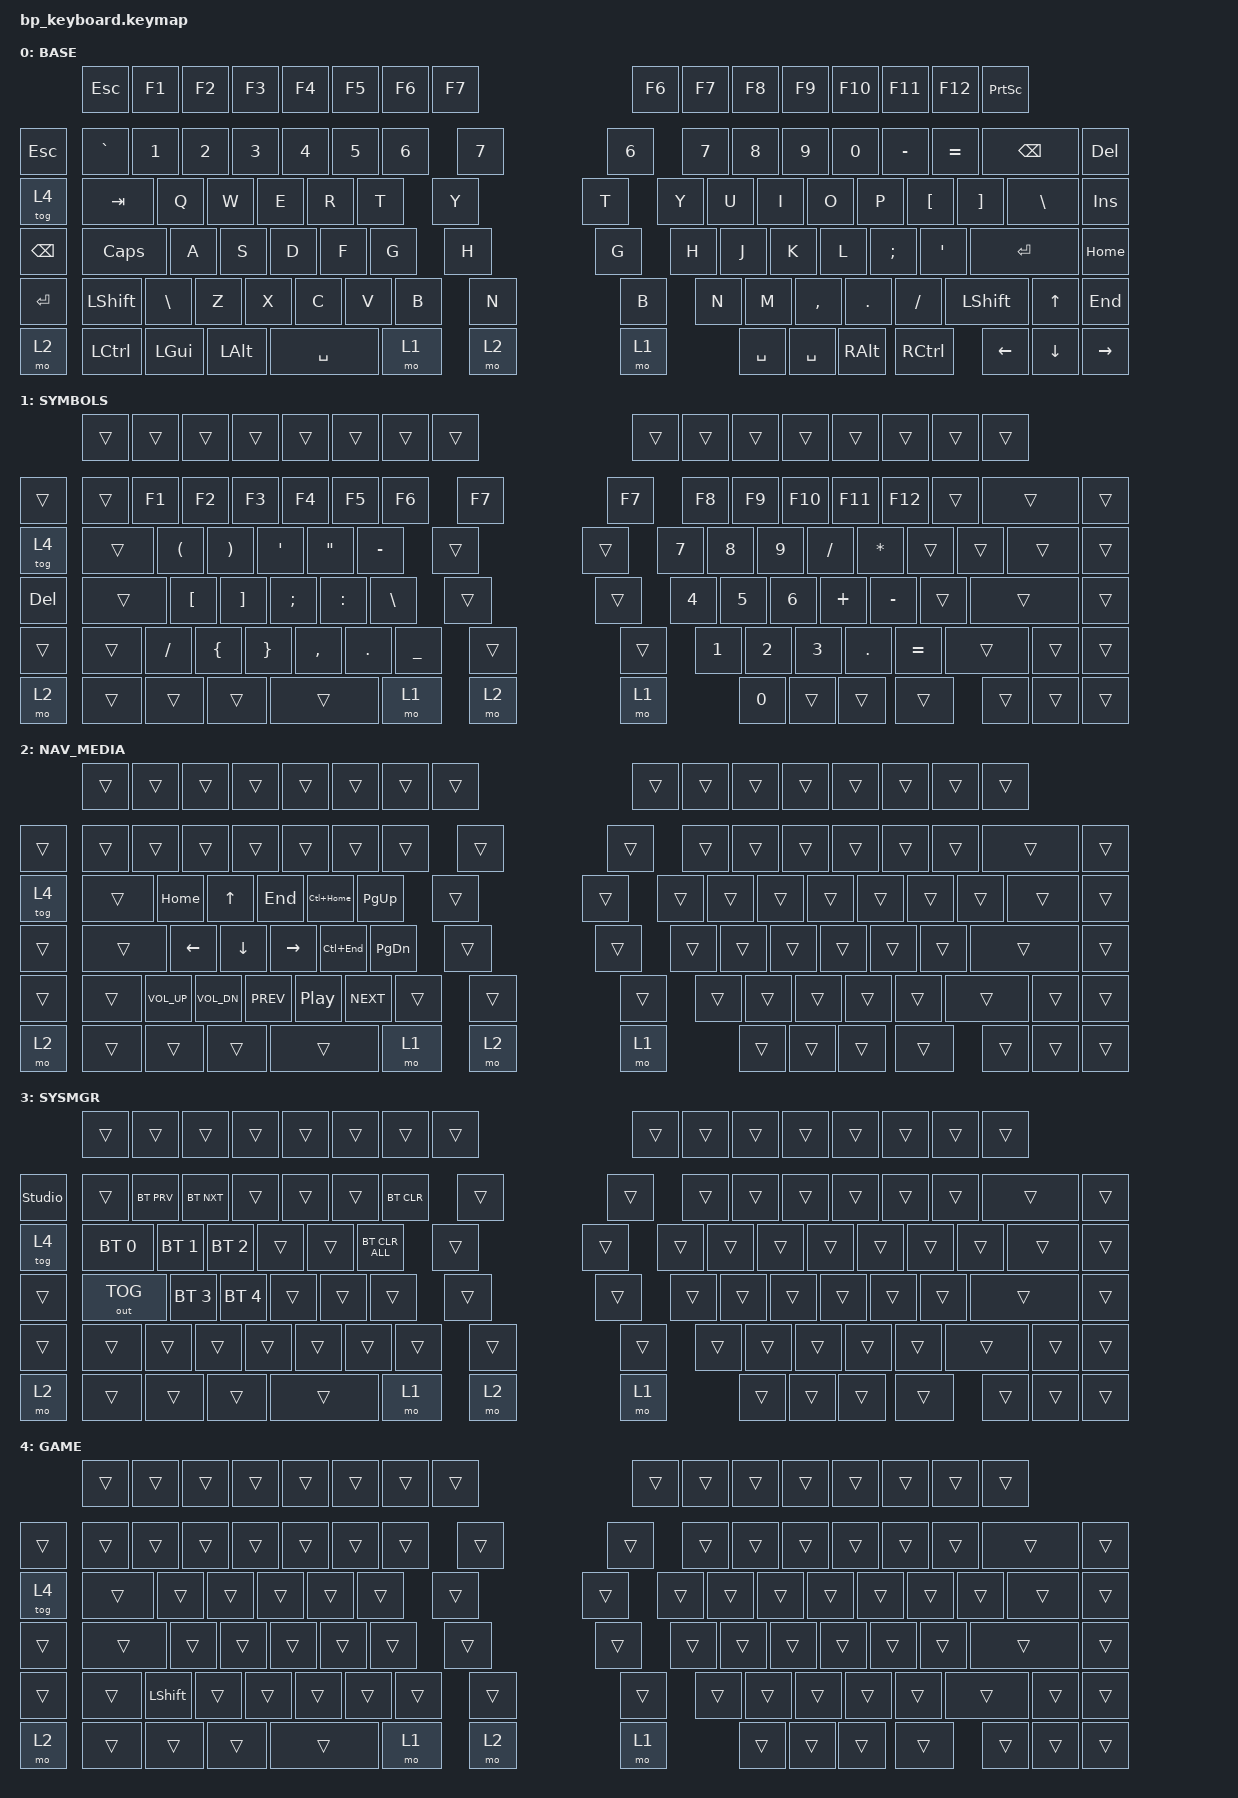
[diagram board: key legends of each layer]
/*
 * Copyright (c) 2026 BP Keyboard
 * SPDX-License-Identifier: MIT
 */

#include <behaviors.dtsi>
#include <dt-bindings/zmk/keys.h>
#include <dt-bindings/zmk/bt.h>
#include <dt-bindings/zmk/outputs.h>

/ {
    keymap {
        compatible = "zmk,keymap";

        // ================================================================================
        // 基础层 - BASE (0)
        // ================================================================================
        default_layer {
            display-name = "BASE";
            bindings = <
// 行0: 顶部功能行 (左8键 + 右8键)
//  左: +-----+ +-----+ +-----+ +-----+ +-----+ +-----+ +-----+ +-----+          //  右: +-----+ +-----+ +-----+ +-----+ +-----+ +-----+ +-----+ +------+
//      | Esc | | F1  | | F2  | | F3  | | F4  | | F5  | | F6  | | F7  |          //      | F6  | | F7  | | F8  | | F9  | | F10 | | F11 | | F12 | | PSCR |
//      +-----+ +-----+ +-----+ +-----+ +-----+ +-----+ +-----+ +-----+          //      +-----+ +-----+ +-----+ +-----+ +-----+ +-----+ +-----+ +------+
    &kp ESC  &kp F1  &kp F2  &kp F3  &kp F4  &kp F5  &kp F6  &kp F7          &kp F6  &kp F7  &kp F8  &kp F9  &kp F10 &kp F11 &kp F12 &kp PSCRN

// 行1: 数字行 (左9键 + 右9键)
//  左: +-----+ +-----+ +-----+ +-----+ +-----+ +-----+ +-----+ +-----+ +-----+          //  右: +-----+ +-----+ +-----+ +-----+ +-----+ +-----+ +-----+ +-------------+ +-----+ 
//      | Esc | |  `  | |  1  | |  2  | |  3  | |  4  | |  5  | |  6  | |  7  |          //      |  6  | |  7  | |  8  | |  9  | |  0  | |  -  | |  =  | |     BSPC    | | Del |
//      +-----+ +-----+ +-----+ +-----+ +-----+ +-----+ +-----+ +-----+ +-----+          //      +-----+ +-----+ +-----+ +-----+ +-----+ +-----+ +-----+ +-------------+ +-----+
    &kp ESC  &kp GRAVE &kp N1 &kp N2 &kp N3 &kp N4 &kp N5 &kp N6 &kp N7      &kp N6 &kp N7 &kp N8 &kp N9 &kp N0 &kp MINUS &kp EQUAL &kp BSPC &kp DEL

// 行2: Tab行 (左8键 + 右10键 [含额外方向键上])
//  左: +-----+ +---------+ +-----+ +-----+ +-----+ +-----+ +-----+ +-----+          //  右: +-----+ +-----+ +-----+ +-----+ +-----+ +-----+ +-----+ +-----+ +-------+ +-----+
//      | TG4 | |   Tab   | |  Q  | |  W  | |  E  | |  R  | |  T  | |  Y  |          //      |  T  | |  Y  | |  U  | |  I  | |  O  | |  P  | |  [  | |  ]  | |   \   | | Ins |
//      +-----+ +---------+ +-----+ +-----+ +-----+ +-----+ +-----+ +-----+          //      +-----+ +-----+ +-----+ +-----+ +-----+ +-----+ +-----+ +-----+ +-------+ +-----+
    &tog 4  &kp TAB &kp Q   &kp W   &kp E   &kp R   &kp T   &kp Y            &kp T  &kp Y  &kp U  &kp I  &kp O  &kp P  &kp LBKT &kp RBKT &kp BSLH &kp INS

// 行3: Caps行 (左8键 + 右9键)
//  左: +-----+ +-----------+ +-----+ +-----+ +-----+ +-----+ +-----+ +-----+          //  右: +-----+ +-----+ +-----+ +-----+ +-----+ +-----+ +-----+ +-------------+ +-----+
//      |BSPC | |   CAPS    | |  A  | |  S  | |  D  | |  F  | |  G  | |  H  |          //      |  G  | |  H  | |  J  | |  K  | |  L  | |  ;  | |  '  | |     ENT     | |Home |
//      +-----+ +-----------+ +-----+ +-----+ +-----+ +-----+ +-----+ +-----+          //      +-----+ +-----+ +-----+ +-----+ +-----+ +-----+ +-----+ +-------------+ +-----+
    &kp BSPC  &kp CAPS &kp A   &kp S   &kp D   &kp F   &kp G   &kp H              &kp G  &kp H  &kp J  &kp K  &kp L  &kp SEMI &kp SQT &kp RET &kp HOME

// 行4: Shift行 (左9键 + 右9键)
//  左: +-----+ +-------+ +-----+ +-----+ +-----+ +-----+ +-----+ +-----+ +-----+          //  右: +-----+ +-----+ +-----+ +-----+ +-----+ +-----+ +-----------+ +-----+ +-----+
//      | ENT | | Shift | |  \  | |  Z  | |  X  | |  C  | |  V  | |  B  | |  N  |          //      |  B  | |  N  | |  M  | |  ,  | |  .  | |  /  | |   Shift   | |  ↑  | | End |
//      +-----+ +-------+ +-----+ +-----+ +-----+ +-----+ +-----+ +-----+ +-----+          //      +-----+ +-----+ +-----+ +-----+ +-----+ +-----+ +-----------+ +-----+ +-----+
    &kp RET  &kp LSHFT &kp BSLH &kp Z &kp X &kp C &kp V &kp B &kp N          &kp B &kp N &kp M &kp COMMA &kp DOT &kp FSLH &kp LSHFT &kp UP &kp END

// 行5: 拇指区 (左7键 + 右8键)
//  左: +-----+ +-------+ +-------+ +-------+   +------+ +-----+ +-----+                    //  右: +-----+ +-------+ +-------+ +-------+ +-------+     +-------+ +-----+ +-----+ 
//      | MO2 | | Ctrl  | |  Win  | |  Alt  |   |Space | | MO1 | | MO2 |                    //      | MO1 | | Space | | Space | | AltGr | | Ctrl  |     |  ←    | |  ↓  | |  →  | 
//      +-----+ +-------+ +-------+ +-------+   +------+ +-----+ +-----+                    //      +-----+ +-------+ +-------+ +-------+ +-------+     +-------+ +-----+ +-----+ 
    &mo 2   &kp LCTRL &kp LGUI &kp LALT &kp SPACE &mo 1 &mo 2                &mo 1 &kp SPACE &kp SPACE &kp RALT &kp RCTRL &kp LEFT &kp DOWN &kp RIGHT 
            >;
        };

        // ================================================================================
        // 符号/数字层 - SYMBOLS (1)  激活: MO1
        // ================================================================================
        sym_layer {
            display-name = "SYMBOLS";
            bindings = <
// 行0: 顶部功能行 (全透传)
    &trans &trans &trans &trans &trans &trans &trans &trans                &trans &trans &trans &trans &trans &trans &trans &trans

// 行1: 数字行 (左9键 + 右9键)
//  左: +-----+ +-----+ +-----+ +-----+ +-----+ +-----+ +-----+ +-----+ +-----+          //  右: +-----+ +-----+ +-----+ +-----+ +-----+ +-----+ +-----+ +-------------+ +-----+
//      | --- | | --- | | F1  | | F2  | | F3  | | F4  | | F5  | | F6  | | F7  |          //      | F7  | | F8  | | F9  | | F10 | | F11 | | F12 | | --- | |     ---     | | --- |
//      +-----+ +-----+ +-----+ +-----+ +-----+ +-----+ +-----+ +-----+ +-----+          //      +-----+ +-----+ +-----+ +-----+ +-----+ +-----+ +-----+ +-------------+ +-----+
    &trans &trans &kp F1 &kp F2 &kp F3 &kp F4 &kp F5 &kp F6 &kp F7        &kp F7 &kp F8 &kp F9 &kp F10 &kp F11 &kp F12 &trans &trans &trans

// 行2: Tab行 (左8键 + 右10键)
//  左: +-----+ +---------+ +-----+ +-----+ +-----+ +-----+ +-----+ +-----+          //  右: +-----+ +-----+ +-----+ +-----+ +-----+ +-----+ +-----+ +-----+ +-------+ +-----+
//      | TG4 | |  -----  | |  (  | |  )  | |  '  | |  "  | |  -  | | --- |          //      | --- | |  7  | |  8  | |  9  | |  /  | |  *  | | --- | | --- | |  ---  | | --- |
//      +-----+ +---------+ +-----+ +-----+ +-----+ +-----+ +-----+ +-----+          //      +-----+ +-----+ +-----+ +-----+ +-----+ +-----+ +-----+ +-----+ +-------+ +-----+
    &tog 4 &trans &kp LPAR &kp RPAR &kp SQT &kp DQT &kp MINUS &trans      &trans &kp N7 &kp N8 &kp N9 &kp FSLH &kp ASTRK &trans &trans &trans &trans

// 行3: Caps行 (左8键 + 右9键)
//  左: +-----+ +-----------+ +-----+ +-----+ +-----+ +-----+ +-----+ +-----+          //  右: +-----+ +-----+ +-----+ +-----+ +-----+ +-----+ +-----+ +-------------+ +-----+
//      | Del | |  -------  | |  [  | |  ]  | |  ;  | |  :  | |  \  | | --- |          //      | --- | |  4  | |  5  | |  6  | |  +  | |  -  | | --- | |     ---     | | --- |
//      +-----+ +-----------+ +-----+ +-----+ +-----+ +-----+ +-----+ +-----+          //      +-----+ +-----+ +-----+ +-----+ +-----+ +-----+ +-----+ +-------------+ +-----+
    &kp DEL &trans &kp LBKT &kp RBKT &kp SEMI &kp COLON &kp BSLH &trans    &trans &kp N4 &kp N5 &kp N6 &kp PLUS &kp MINUS &trans &trans &trans

// 行4: Shift行 (左9键 + 右9键)
//  左: +-----+ +-------+ +-----+ +-----+ +-----+ +-----+ +-----+ +-----+ +-----+          //  右: +-----+ +-----+ +-----+ +-----+ +-----+ +-----+ +-----------+ +-----+ +-----+
//      | --- | |  ---  | |  /  | |  {  | |  }  | |  ,  | |  .  | |  _  | | --- |          //      | --- | |  1  | |  2  | |  3  | |  .  | |  =  | |    ---    | | --- | | --- |
//      +-----+ +-------+ +-----+ +-----+ +-----+ +-----+ +-----+ +-----+ +-----+          //      +-----+ +-----+ +-----+ +-----+ +-----+ +-----+ +-----------+ +-----+ +-----+
    &trans &trans &kp FSLH &kp LBRC &kp RBRC &kp COMMA &kp DOT &kp UNDER &trans  &trans &kp N1 &kp N2 &kp N3 &kp DOT &kp EQUAL &trans &trans &trans

// 行5: 拇指区 (左7键 + 右8键)
//  左: +-----+ +-------+ +-------+ +-------+   +------+ +-----+ +-----+          //  右: +-----+ +-------+ +-------+ +-------+ +-------+ +-----+ +-----+ +-----+
//      | MO2 | |  ---  | |  ---  | |  ---  |   | ---- | | MO1 | | MO2 |          //      | MO1 | |   0   | |  ---  | |  ---  | |  ---  | | --- | | --- | | --- |
//      +-----+ +-------+ +-------+ +-------+   +------+ +-----+ +-----+          //      +-----+ +-------+ +-------+ +-------+ +-------+ +-----+ +-----+ +-----+
    &mo 2  &trans &trans &trans &trans &mo 1 &mo 2                    &mo 1 &kp N0 &trans &trans &trans &trans &trans &trans
            >;
        };

        // ================================================================================
        // 导航/媒体层 - NAV_MEDIA (2)  激活: MO2
        // ================================================================================
        nav_layer {
            display-name = "NAV_MEDIA";
            bindings = <
// 行0: 顶部功能行 (全透传)
    &trans &trans &trans &trans &trans &trans &trans &trans                &trans &trans &trans &trans &trans &trans &trans &trans

// 行1: 数字行 (全透传)
    &trans &trans &trans &trans &trans &trans &trans &trans &trans          &trans &trans &trans &trans &trans &trans &trans &trans &trans

// 行2: Tab行 (左8键 + 右10键)
//  左: +-----+ +---------+ +------+ +-----+ +-----+ +-----+ +------+ +-----+          //  右: (全透传)
//      | TG4 | |  -----  | | Home | |  ↑  | | End | |Ctrl+| | PgUp | | --- |
//      |     | |         | |      | |     | |     | |Home | |      | |     |
//      +-----+ +---------+ +------+ +-----+ +-----+ +-----+ +------+ +-----+
    &tog 4 &trans &kp HOME &kp UP &kp END &kp LC(HOME) &kp PG_UP &trans    &trans &trans &trans &trans &trans &trans &trans &trans &trans &trans

// 行3: Caps行 (左8键 + 右9键)
//  左: +-----+ +-----------+ +-----+ +-----+ +-----+ +-----+ +------+ +-----+          //  右: (全透传)
//      | --- | |  -------  | |  ←  | |  ↓  | |  →  | |Ctrl+| | PgDn | | --- |
//      |     | |           | |     | |     | |     | | End | |      | |     |
//      +-----+ +-----------+ +-----+ +-----+ +-----+ +-----+ +------+ +-----+
    &trans &trans &kp LEFT &kp DOWN &kp RIGHT &kp LC(END) &kp PG_DN &trans  &trans &trans &trans &trans &trans &trans &trans &trans &trans

// 行4: Shift行 (左9键 + 右9键)
//  左: +-----+ +-------+ +-----+ +-----+ +-----+ +------+ +------+ +------+ +-----+          //  右: (全透传)
//      | --- | |  ---  | | Vol+| | Vol-| | Prev| |Play/ | | Next | | ---  | | --- |
//      |     | |       | |     | |     | |     | |Pause | |      | |      | |     |
//      +-----+ +-------+ +-----+ +-----+ +-----+ +------+ +------+ +------+ +-----+
    &trans &trans &kp C_VOL_UP &kp C_VOL_DN &kp C_PREV &kp C_PP &kp C_NEXT &trans &trans  &trans &trans &trans &trans &trans &trans &trans &trans &trans

// 行5: 拇指区 (左7键 + 右8键)
//  左: +-----+ +-------+ +-------+ +-------+   +------+ +-----+ +-----+          //  右: (全透传)
//      | MO2 | |  ---  | |  ---  | |  ---  |   | ---- | | MO1 | | MO2 |
//      +-----+ +-------+ +-------+ +-------+   +------+ +-----+ +-----+
    &mo 2  &trans &trans &trans &trans &mo 1 &mo 2                    &mo 1 &trans &trans &trans &trans &trans &trans &trans
            >;
        };

        // ================================================================================
        // 系统管理层 - SYSMGR (3)  激活: MO1 + MO2
        // ================================================================================
        sys_layer {
            display-name = "SYSMGR";
            bindings = <
// 行0: 顶部功能行 (全透传)
    &trans &trans &trans &trans &trans &trans &trans &trans                &trans &trans &trans &trans &trans &trans &trans &trans

// 行1: 数字行 (左9键 + 右9键)
//  左: +-----+ +-----+ +-----+ +-----+ +-----+ +-----+ +-----+ +-----+ +-----+          //  右: (全透传)
//      |Stu  | | --- | |BT   | |BT   | | --- | | --- | | --- | |BT   | | --- |
//      |Unlk | |     | |Prev | |Next | |     | |     | |     | |Clear| |     |
//      +-----+ +-----+ +-----+ +-----+ +-----+ +-----+ +-----+ +-----+ +-----+
    &studio_unlock &trans &bt BT_PRV &bt BT_NXT &trans &trans &trans &bt BT_CLR &trans  &trans &trans &trans &trans &trans &trans &trans &trans &trans

// 行2: Tab行 (左8键 + 右10键)
//  左: +-----+ +-------+ +------+ +------+ +-----+ +-----+ +-----+ +-----+          //  右: (全透传)
//      | TG4 | |BT Sel | |BT Sel| |BT Sel| | --- | | --- | |BT   | | --- |
//      |     | |   0   | |   1  | |   2  | |     | |     | |Prof | |     |
//      +-----+ +-------+ +------+ +------+ +-----+ +-----+ +-----+ +-----+
    &tog 4 &bt BT_SEL 0 &bt BT_SEL 1 &bt BT_SEL 2 &trans &trans &bt BT_CLR_ALL &trans  &trans &trans &trans &trans &trans &trans &trans &trans &trans &trans

// 行3: Caps行 (左8键 + 右9键)
//  左: +-----+ +----------+ +------+ +------+ +-----+ +-----+ +-----+ +-----+          //  右: (全透传)
//      | --- | | Toggle   | |BT Sel| |BT Sel| | --- | | --- | | --- | | --- |
//      |     | | Output   | |   3  | |   4  | |     | |     | |     | |     |
//      +-----+ +----------+ +------+ +------+ +-----+ +-----+ +-----+ +-----+
    &trans &out OUT_TOG &bt BT_SEL 3 &bt BT_SEL 4 &trans &trans &trans &trans  &trans &trans &trans &trans &trans &trans &trans &trans &trans

// 行4: Shift行 (左9键 + 右9键)  全透传
    &trans &trans &trans &trans &trans &trans &trans &trans &trans          &trans &trans &trans &trans &trans &trans &trans &trans &trans

// 行5: 拇指区 (左7键 + 右8键)
    &mo 2  &trans &trans &trans &trans &mo 1 &mo 2                    &mo 1 &trans &trans &trans &trans &trans &trans &trans
            >;
        };

        // ================================================================================
        // 游戏层 - GAME (4)  激活: TG4 / TG5
        // ================================================================================
        game_layer {
            display-name = "GAME";
            bindings = <
// 行0: 顶部功能行 (全透传)
    &trans &trans &trans &trans &trans &trans &trans &trans                &trans &trans &trans &trans &trans &trans &trans &trans

// 行1: 数字行 (左9键 + 右9键)
     &trans &trans &trans &trans &trans &trans &trans &trans &trans          &trans &trans &trans &trans &trans &trans &trans &trans &trans

// 行2: Tab行
//  左: +-----+ +-----+ +-----+ +-----+ +-----+ +-----+ +-----+ +-----+ +-----+          //  右: (全透传)
//      | TG4 | | --- | | --- | | --- | | --- | | --- | | --- | | --- | | --- |
//      +-----+ +-----+ +-----+ +-----+ +-----+ +-----+ +-----+ +-----+ +-----+
    &tog 4 &trans &trans &trans &trans &trans &trans &trans                &trans &trans &trans &trans &trans &trans &trans &trans &trans &trans

// 行3: Caps行 (全透传)
    &trans &trans &trans &trans &trans &trans &trans &trans                &trans &trans &trans &trans &trans &trans &trans &trans &trans

// 行4: Shift行 (左9键 + 右9键)
//  左: +-----+ +-------+ +-----+ +-----+ +-----+ +-----+ +-----+ +-----+ +-----+          //  右: (全透传)
//      | --- | | ----  |  |Shift| | --- | | --- | | --- | | --- | | --- | | --- |
//      +-----+ +-------+ +-----+ +-----+ +-----+ +-----+ +-----+ +-----+ +-----+
    &trans &trans &kp LSHFT &trans &trans &trans &trans &trans &trans        &trans &trans &trans &trans &trans &trans &trans &trans &trans

// 行5: 拇指区 (左7键 + 右8键)
    &mo 2  &trans &trans &trans &trans &mo 1 &mo 2                    &mo 1 &trans &trans &trans &trans &trans &trans &trans
            >;
        };
    };
};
